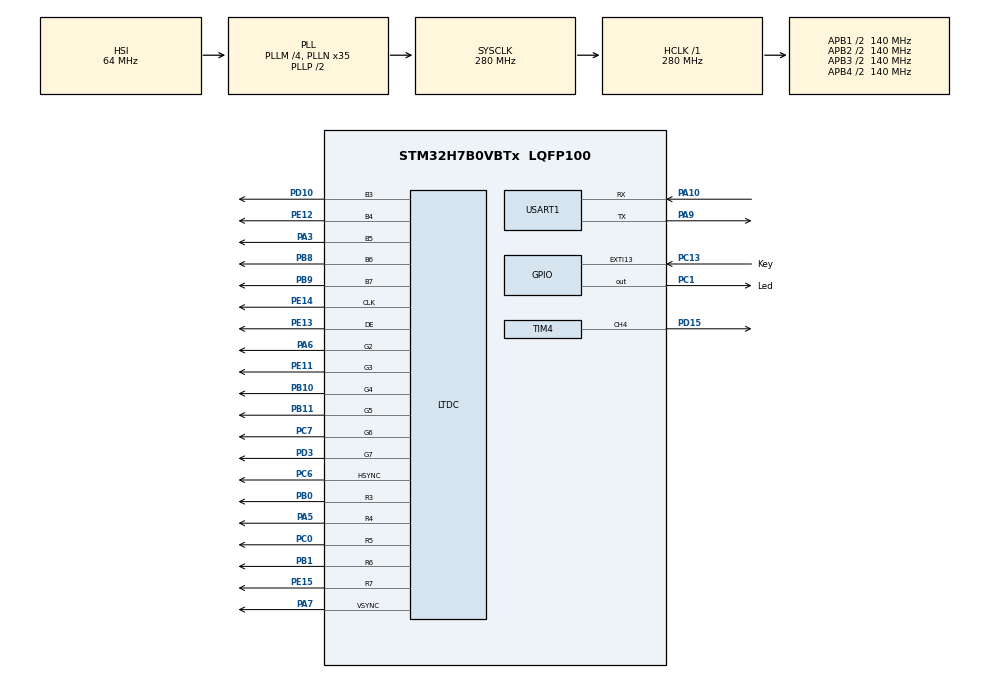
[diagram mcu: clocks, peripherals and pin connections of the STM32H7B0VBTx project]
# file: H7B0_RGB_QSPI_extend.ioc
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CORTEX_M7.AccessPermission-Cortex_Memory_Protection_Unit_Region0_Settings=MPU_REGION_FULL_ACCESS
CORTEX_M7.BaseAddress-Cortex_Memory_Protection_Unit_Region0_Settings=0x24000000
CORTEX_M7.CPU_DCache=Enabled
CORTEX_M7.CPU_ICache=Enabled
CORTEX_M7.Enable-Cortex_Memory_Protection_Unit_Region0_Settings=MPU_REGION_ENABLE
CORTEX_M7.IsBufferable-Cortex_Memory_Protection_Unit_Region0_Settings=MPU_ACCESS_NOT_BUFFERABLE
CORTEX_M7.IsCacheable-Cortex_Memory_Protection_Unit_Region0_Settings=MPU_ACCESS_CACHEABLE
CORTEX_M7.MPU_Control=MPU_PRIVILEGED_DEFAULT
CORTEX_M7.Size-Cortex_Memory_Protection_Unit_Region0_Settings=MPU_REGION_SIZE_1MB
CORTEX_M7.TypeExtField-Cortex_Memory_Protection_Unit_Region0_Settings=MPU_TEX_LEVEL0
DMA2D.ColorMode=DMA2D_OUTPUT_RGB565
LTDC.ActiveW=800
LTDC.Alpha0_L0=0
LTDC.Alpha_L0=255
LTDC.Blue=0
LTDC.Blue_L0=255
LTDC.FBStartAdress_L0=\ 0x24000000
LTDC.Green=0
LTDC.Green_L0=255
LTDC.HBP=80
LTDC.HFP=200
LTDC.HSync=1
LTDC.ImageHeight_L0=480
LTDC.ImageWidth_L0=800
LTDC.Layers=0
LTDC.PixelFormat_L0=LTDC_PIXEL_FORMAT_RGB565
LTDC.Red=0
LTDC.Red_L0=255
LTDC.VBP=40
LTDC.VFP=22
LTDC.VSync=1
LTDC.WindowX1_L0=800
LTDC.WindowY1_L0=480
Mcu.Family=STM32H7
Mcu.Name=STM32H7B0VBTx
Mcu.Package=LQFP100
NVIC.EXTI15_10_IRQn=true\:0\:3\:false\:false\:true\:true\:true
NVIC.PriorityGroup=NVIC_PRIORITYGROUP_2
NVIC.USART1_IRQn=true\:0\:2\:false\:false\:true\:true\:true
PA10.Mode=Asynchronous
PA10.Signal=USART1_RX
PA13.Mode=Serial_Wire
PA13.Signal=DEBUG_JTMS-SWDIO
PA14.Mode=Serial_Wire
PA14.Signal=DEBUG_JTCK-SWCLK
PA3.GPIO_Speed=GPIO_SPEED_FREQ_VERY_HIGH
PA3.Mode=RGB565
PA3.Signal=LTDC_B5
PA5.GPIO_Speed=GPIO_SPEED_FREQ_VERY_HIGH
PA5.Mode=RGB565
PA5.Signal=LTDC_R4
PA6.GPIO_Speed=GPIO_SPEED_FREQ_VERY_HIGH
PA6.Mode=RGB565
PA6.Signal=LTDC_G2
PA7.GPIO_Speed=GPIO_SPEED_FREQ_VERY_HIGH
PA7.Mode=RGB565
PA7.Signal=LTDC_VSYNC
PA9.Mode=Asynchronous
PA9.Signal=USART1_TX
PB0.GPIO_Speed=GPIO_SPEED_FREQ_VERY_HIGH
PB0.Mode=RGB565
PB0.Signal=LTDC_R3
PB1.GPIO_Speed=GPIO_SPEED_FREQ_VERY_HIGH
PB1.Mode=RGB565
PB1.Signal=LTDC_R6
PB10.GPIO_Speed=GPIO_SPEED_FREQ_VERY_HIGH
PB10.Mode=RGB565
PB10.Signal=LTDC_G4
PB11.GPIO_Speed=GPIO_SPEED_FREQ_VERY_HIGH
PB11.Mode=RGB565
PB11.Signal=LTDC_G5
PB8.GPIO_FM8=__NULL
PB8.GPIO_Speed=GPIO_SPEED_FREQ_VERY_HIGH
PB8.Mode=RGB565
PB8.Signal=LTDC_B6
PB9.GPIO_FM9=__NULL
PB9.GPIO_Speed=GPIO_SPEED_FREQ_VERY_HIGH
PB9.Mode=RGB565
PB9.Signal=LTDC_B7
PC0.GPIO_Speed=GPIO_SPEED_FREQ_VERY_HIGH
PC0.Mode=RGB565
PC0.Signal=LTDC_R5
PC1.GPIO_Label=Led
PC1.GPIO_Speed=GPIO_SPEED_FREQ_LOW
PC1.PinState=GPIO_PIN_RESET
PC1.Signal=GPIO_Output
PC13.GPIO_Label=Key
PC13.GPIO_ModeDefaultEXTI=GPIO_MODE_IT_FALLING
PC13.GPIO_PuPd=GPIO_PULLUP
PC13.Signal=GPXTI13
PC6.GPIO_Speed=GPIO_SPEED_FREQ_VERY_HIGH
PC6.Mode=RGB565
PC6.Signal=LTDC_HSYNC
PC7.GPIO_Speed=GPIO_SPEED_FREQ_VERY_HIGH
PC7.Mode=RGB565
PC7.Signal=LTDC_G6
PD10.GPIO_Speed=GPIO_SPEED_FREQ_VERY_HIGH
PD10.Mode=RGB565
PD10.Signal=LTDC_B3
PD15.Signal=S_TIM4_CH4
PD3.GPIO_Speed=GPIO_SPEED_FREQ_VERY_HIGH
PD3.Mode=RGB565
PD3.Signal=LTDC_G7
PE11.GPIO_Speed=GPIO_SPEED_FREQ_VERY_HIGH
PE11.Mode=RGB565
PE11.Signal=LTDC_G3
PE12.GPIO_Speed=GPIO_SPEED_FREQ_VERY_HIGH
PE12.Mode=RGB565
PE12.Signal=LTDC_B4
PE13.GPIO_Speed=GPIO_SPEED_FREQ_VERY_HIGH
PE13.Mode=RGB565
PE13.Signal=LTDC_DE
PE14.GPIO_Speed=GPIO_SPEED_FREQ_VERY_HIGH
PE14.Mode=RGB565
PE14.Signal=LTDC_CLK
PE15.GPIO_Speed=GPIO_SPEED_FREQ_VERY_HIGH
PE15.Mode=RGB565
PE15.Signal=LTDC_R7
PH0-OSC_IN.Mode=HSE-External-Oscillator
PH0-OSC_IN.Signal=RCC_OSC_IN
PH1-OSC_OUT.Mode=HSE-External-Oscillator
PH1-OSC_OUT.Signal=RCC_OSC_OUT
ProjectManager.HeapSize=0x200
ProjectManager.StackSize=0x400
ProjectManager.TargetToolchain=MDK-ARM V5.27
RCC.ADCFreq_Value=129000000
RCC.APB1Freq_Value=140000000
RCC.APB2Freq_Value=140000000
RCC.APB3Freq_Value=140000000
RCC.APB4Freq_Value=140000000
RCC.CDPPRE=RCC_APB3_DIV2
RCC.CDPPRE1=RCC_APB1_DIV2
RCC.CDPPRE2=RCC_APB2_DIV2
RCC.CortexFreq_Value=280000000
RCC.DIVM1=4
RCC.DIVM3=4
RCC.DIVN1=35
RCC.DIVN3=8
RCC.DIVR3=4
RCC.HCLKFreq_Value=280000000
RCC.HSE_VALUE=25000000
RCC.PLL3FRACN=0
RCC.PLLFRACN=0
RCC.SRDPPRE=RCC_APB4_DIV2
RCC.SYSCLKFreq_VALUE=280000000
RCC.SYSCLKSource=RCC_SYSCLKSOURCE_PLLCLK
RCC.USBFreq_Value=280000000
SH.S_TIM4_CH4.0=TIM4_CH4,PWM Generation4 CH4
TIM4.Channel-PWM\ Generation4\ CH4=TIM_CHANNEL_4
TIM4.Period=99
TIM4.Prescaler=1399
TIM4.Pulse-PWM\ Generation4\ CH4=99
USART1.VirtualMode-Asynchronous=VM_ASYNC
VP_DMA2D_VS_DMA2D.Mode=DMA2D_Activate
board=custom

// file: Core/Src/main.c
/* USER CODE BEGIN Header */
/**
 ******************************************************************************
 * @file           : main.c
 * @brief          : Main program body
 ******************************************************************************
 * @attention
 *
 * <h2><center>&copy; Copyright (c) 2023 STMicroelectronics.
 * All rights reserved.</center></h2>
 *
 * This software component is licensed by ST under BSD 3-Clause license,
 * the "License"; You may not use this file except in compliance with the
 * License. You may obtain a copy of the License at:
 *                        opensource.org/licenses/BSD-3-Clause
 *
 ******************************************************************************
 */
/* USER CODE END Header */
#include "main.h"
#include "dma2d.h"
#include "ltdc.h"
#include "tim.h"
#include "usart.h"
#include "gpio.h"

/* USER CODE BEGIN PTD */
extern uint16_t play[40000];
/* USER CODE END PTD */

void SystemClock_Config(void);
static void MPU_Config(void);
/* USER CODE BEGIN PFP */
extern unsigned char gImage_play[128000];
/* USER CODE END PFP */

int main(void)
{

  /* MPU Configuration--------------------------------------------------------*/
  MPU_Config();

  /* Enable I-Cache---------------------------------------------------------*/
  SCB_EnableICache();

  /* Enable D-Cache---------------------------------------------------------*/
  SCB_EnableDCache();

  /* MCU Configuration--------------------------------------------------------*/

  /* Reset of all peripherals, Initializes the Flash interface and the Systick. */
  HAL_Init();

  /* Configure the system clock */
  SystemClock_Config();

  /* Initialize all configured peripherals */
  MX_GPIO_Init();
  MX_USART1_UART_Init();
  MX_LTDC_Init();
  MX_TIM4_Init();
  MX_DMA2D_Init();
  /* USER CODE BEGIN 2 */

    HAL_TIM_PWM_Start(&htim4, TIM_CHANNEL_4);
    TIM4->CCR4 = 99;
    Touch_Init(); // ��������ʼ��
    Usart_SendString((uint8_t *)"��ʼ��ok\n");
    printf("ok\n");
    int i;
    i=HAL_GetTick();
    lcd_fill0(0,0, 800,480, lightcoral);
    printf("%d\n",HAL_GetTick()-i);

    i=HAL_GetTick();
    color_fill(0,0, 800,480, 0XFC0E);
    printf("%d\n",HAL_GetTick()-i);
    LCD_CopyBuffer(100, 100, 200, 200,(uint32_t*)play);
  /* USER CODE END 2 */

  /* Infinite loop */
  while (1)
  {

    /* USER CODE BEGIN 3 */
    Touch_Scan(); // ����ɨ��

    HAL_Delay(1000);
    GPIOC->ODR^=GPIO_PIN_1;
  }
  /* USER CODE END 3 */
}

void SystemClock_Config(void)
{
  RCC_OscInitTypeDef RCC_OscInitStruct = {0};
  RCC_ClkInitTypeDef RCC_ClkInitStruct = {0};
  RCC_PeriphCLKInitTypeDef PeriphClkInitStruct = {0};

  /** Supply configuration update enable
  */
  HAL_PWREx_ConfigSupply(PWR_LDO_SUPPLY);
  /** Configure the main internal regulator output voltage
  */
  __HAL_PWR_VOLTAGESCALING_CONFIG(PWR_REGULATOR_VOLTAGE_SCALE0);

  while(!__HAL_PWR_GET_FLAG(PWR_FLAG_VOSRDY)) {}
  /** Macro to configure the PLL clock source
  */
  __HAL_RCC_PLL_PLLSOURCE_CONFIG(RCC_PLLSOURCE_HSI);
  /** Initializes the RCC Oscillators according to the specified parameters
  * in the RCC_OscInitTypeDef structure.
  */
  RCC_OscInitStruct.OscillatorType = RCC_OSCILLATORTYPE_HSI;
  RCC_OscInitStruct.HSIState = RCC_HSI_DIV1;
  RCC_OscInitStruct.HSICalibrationValue = RCC_HSICALIBRATION_DEFAULT;
  RCC_OscInitStruct.PLL.PLLState = RCC_PLL_ON;
  RCC_OscInitStruct.PLL.PLLSource = RCC_PLLSOURCE_HSI;
  RCC_OscInitStruct.PLL.PLLM = 4;
  RCC_OscInitStruct.PLL.PLLN = 35;
  RCC_OscInitStruct.PLL.PLLP = 2;
  RCC_OscInitStruct.PLL.PLLQ = 2;
  RCC_OscInitStruct.PLL.PLLR = 2;
  RCC_OscInitStruct.PLL.PLLRGE = RCC_PLL1VCIRANGE_3;
  RCC_OscInitStruct.PLL.PLLVCOSEL = RCC_PLL1VCOWIDE;
  RCC_OscInitStruct.PLL.PLLFRACN = 0;
  if (HAL_RCC_OscConfig(&RCC_OscInitStruct) != HAL_OK)
  {
    Error_Handler();
  }
  /** Initializes the CPU, AHB and APB buses clocks
  */
  RCC_ClkInitStruct.ClockType = RCC_CLOCKTYPE_HCLK|RCC_CLOCKTYPE_SYSCLK
                              |RCC_CLOCKTYPE_PCLK1|RCC_CLOCKTYPE_PCLK2
                              |RCC_CLOCKTYPE_D3PCLK1|RCC_CLOCKTYPE_D1PCLK1;
  RCC_ClkInitStruct.SYSCLKSource = RCC_SYSCLKSOURCE_PLLCLK;
  RCC_ClkInitStruct.SYSCLKDivider = RCC_SYSCLK_DIV1;
  RCC_ClkInitStruct.AHBCLKDivider = RCC_HCLK_DIV1;
  RCC_ClkInitStruct.APB3CLKDivider = RCC_APB3_DIV2;
  RCC_ClkInitStruct.APB1CLKDivider = RCC_APB1_DIV2;
  RCC_ClkInitStruct.APB2CLKDivider = RCC_APB2_DIV2;
  RCC_ClkInitStruct.APB4CLKDivider = RCC_APB4_DIV2;

  if (HAL_RCC_ClockConfig(&RCC_ClkInitStruct, FLASH_LATENCY_7) != HAL_OK)
  {
    Error_Handler();
  }
  PeriphClkInitStruct.PeriphClockSelection = RCC_PERIPHCLK_LTDC|RCC_PERIPHCLK_USART16;
  PeriphClkInitStruct.PLL3.PLL3M = 4;
  PeriphClkInitStruct.PLL3.PLL3N = 8;
  PeriphClkInitStruct.PLL3.PLL3P = 2;
  PeriphClkInitStruct.PLL3.PLL3Q = 2;
  PeriphClkInitStruct.PLL3.PLL3R = 4;
  PeriphClkInitStruct.PLL3.PLL3RGE = RCC_PLL3VCIRANGE_3;
  PeriphClkInitStruct.PLL3.PLL3VCOSEL = RCC_PLL3VCOWIDE;
  PeriphClkInitStruct.PLL3.PLL3FRACN = 0;
  PeriphClkInitStruct.Usart16ClockSelection = RCC_USART16910CLKSOURCE_D2PCLK2;
  if (HAL_RCCEx_PeriphCLKConfig(&PeriphClkInitStruct) != HAL_OK)
  {
    Error_Handler();
  }
}

/* MPU Configuration */

void MPU_Config(void)
{
  MPU_Region_InitTypeDef MPU_InitStruct = {0};

  /* Disables the MPU */
  HAL_MPU_Disable();
  /** Initializes and configures the Region and the memory to be protected
  */
  MPU_InitStruct.Enable = MPU_REGION_ENABLE;
  MPU_InitStruct.Number = MPU_REGION_NUMBER0;
  MPU_InitStruct.BaseAddress = 0x24000000;
  MPU_InitStruct.Size = MPU_REGION_SIZE_1MB;
  MPU_InitStruct.SubRegionDisable = 0x0;
  MPU_InitStruct.TypeExtField = MPU_TEX_LEVEL0;
  MPU_InitStruct.AccessPermission = MPU_REGION_FULL_ACCESS;
  MPU_InitStruct.DisableExec = MPU_INSTRUCTION_ACCESS_ENABLE;
  MPU_InitStruct.IsShareable = MPU_ACCESS_NOT_SHAREABLE;
  MPU_InitStruct.IsCacheable = MPU_ACCESS_NOT_CACHEABLE;
  MPU_InitStruct.IsBufferable = MPU_ACCESS_NOT_BUFFERABLE;

  HAL_MPU_ConfigRegion(&MPU_InitStruct);
  /* Enables the MPU */
  HAL_MPU_Enable(MPU_PRIVILEGED_DEFAULT);

}

void Error_Handler(void)
{
  /* USER CODE BEGIN Error_Handler_Debug */
  /* User can add his own implementation to report the HAL error return state */
  __disable_irq();
  while (1)
  {
      printf("error");
  }
  /* USER CODE END Error_Handler_Debug */
}

/************************ (C) COPYRIGHT STMicroelectronics *****END OF FILE****/
